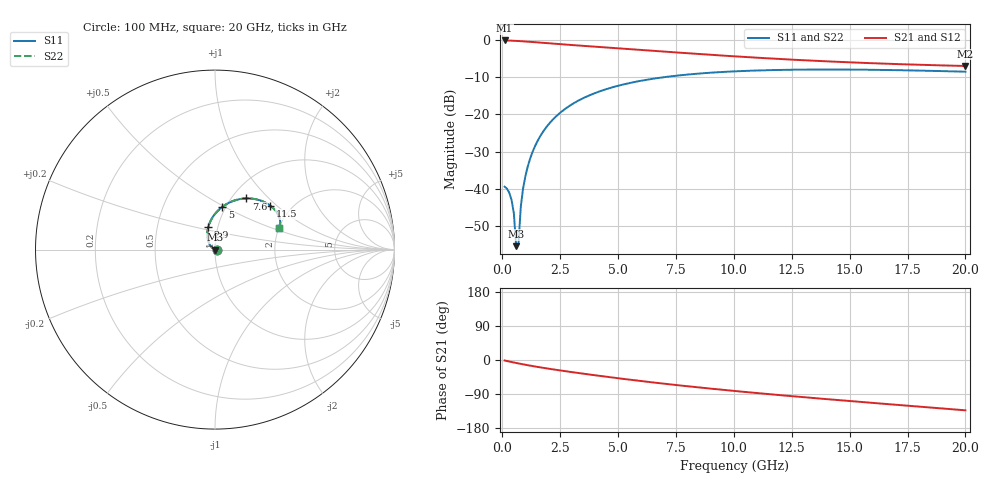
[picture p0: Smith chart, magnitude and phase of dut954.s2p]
! Touchstone file exported from HFSS 2024.1.0
!  File:  C:/UserFiles/LocalFiles/RDL_TSV_Batchsim/temp_RDL_TSV_954_1779966053.aedt
!  Generated:  07:12:11 PM May 28, 2026
!  Design:  RDL_TSV
!  Project:  temp_RDL_TSV_954_1779966053
!  Setup:  Setup1
!  Solution:  Sweep
! Variables:
!  dtsv = 13.77um
!  hbump = 3um
!  htsv = 51.34um
!  ldown = 108.67um
!  lrdl = 384.43um
!  p = 40
!  p1 = 59.96um
!  rhole = 10um
!  subl = 1863.73um
!  t = 450um
!  tdown = 4.55um
!  trdl = 2.86um
!  viad = 10um
!  wdown = 12.66um
!  wrdl = 22.87um
!  xbump = 18um
# GHz S MA R 50.000000
! Terminal data exported
! Port[1] = TM1_1_T1
! Port[2] = TM1_4_T1
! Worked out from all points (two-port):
!   200 points, 100 MHz to 20 GHz, reference 50 ohm
!   highest |S21| = -0.10 dB at 100 MHz (marker M1); lowest = -7.0 dB at 20 GHz (marker M2)
!   |S21| within 3 dB of the highest: start of sweep to 7.001 GHz
!   lowest |S11| = -55.5 dB at 600 MHz (marker M3), VSWR 1.00, Z = 50.2 - j0.0422 ohm
!   |S11| at or under -10 dB: start of sweep to 6.963 GHz
!   |S22| runs from -55.5 to -7.9 dB; largest |S21 - S12| = 1.5e-14
!   S11 on the Smith chart (normalised r, x): 100 MHz: 1.02, -0.00; 2.9 GHz: 0.90, +0.23; 5 GHz: 0.96, +0.49; 7.6 GHz: 1.16, +0.75; 11.5 GHz: 1.57, +0.91; 20 GHz: 2.00, +0.56
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0.1  0.01065 -1.6  0.9887 -1.4  0.9887 -1.4  0.01065 -1.6
! Gamma 0 0 0 0
! Port Impedance 50 0 50 0
0.3  0.008856 -6.4  0.9852 -4.0  0.9852 -4.0  0.008855 -6.4
0.4  0.007062 -9.5  0.9825 -5.3  0.9825 -5.3  0.007061 -9.5
0.5  0.004658 -12.6  0.9793 -6.6  0.9793 -6.6  0.004655 -12.6
0.6  0.001684 -14.5  0.9757 -7.9  0.9757 -7.9  0.00168 -14.4
0.7  0.001813 157.2  0.9716 -9.1  0.9716 -9.1  0.001817 157.1
0.8  0.00577 155.5  0.9673 -10.3  0.9673 -10.3  0.005776 155.5
0.9  0.01014 152.6  0.9627 -11.5  0.9627 -11.5  0.01015 152.5
1.1  0.01993 146.6  0.9529 -13.7  0.9529 -13.7  0.01994 146.6
1.3  0.03081 140.9  0.9425 -15.9  0.9425 -15.9  0.03082 140.9
1.6  0.04852 133.0  0.9267 -19.1  0.9267 -19.1  0.04854 133.0
1.9  0.06719 125.9  0.911 -22.0  0.911 -22.0  0.0672 125.9
2.9  0.1301 106.8  0.8627 -31.1  0.8627 -31.1  0.1301 106.8
3.5  0.1657 97.8  0.8364 -36.1  0.8364 -36.1  0.1657 97.8
5  0.2427 80.1  0.7752 -48.1  0.7752 -48.1  0.2427 80.1
6.8  0.3112 64.4  0.7071 -61.2  0.7071 -61.2  0.3112 64.4
7.6  0.334 58.7  0.6791 -66.6  0.6791 -66.6  0.334 58.7
10.1  0.3804 44.4  0.6025 -82.1  0.6025 -82.1  0.3803 44.5
11.5  0.3937 38.3  0.5675 -90.0  0.5675 -90.0  0.3936 38.3
13.4  0.4014 31.6  0.5283 -100.1  0.5283 -100.1  0.4013 31.6
16.7  0.3954 23.3  0.4794 -116.7  0.4794 -116.7  0.3953 23.3
20  0.3755 18.9  0.4482 -132.8  0.4482 -132.8  0.3753 18.9
